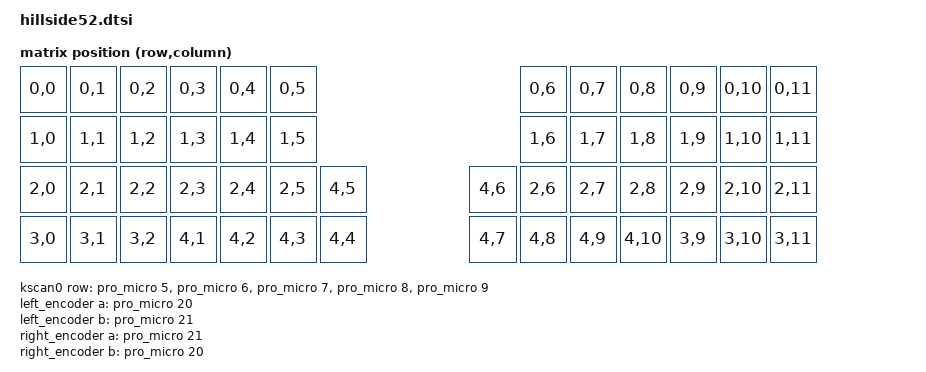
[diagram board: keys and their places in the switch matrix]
/*
 * Copyright (c) 2021-2022 The ZMK Contributors
 *
 * SPDX-License-Identifier: MIT
 */

#include <dt-bindings/zmk/matrix_transform.h>
#include <dt-bindings/led/led.h>

/ {
    chosen {
        zmk,kscan = &kscan0;
        zmk,matrix_transform = &default_transform;
        zmk,underglow = &led_strip;
    };

    default_transform: keymap_transform_0 {
        compatible = "zmk,matrix-transform";
        columns = <12>;
        rows = <5>;
// | SW1  | SW2  | SW3  | SW4  | SW5  | SW6  |                                   | SW6  | SW5  | SW4  | SW3  | SW2  | SW1  |
// | SW7  | SW8  | SW9  | SW10 | SW11 | SW12 |                                   | SW12 | SW11 | SW10 | SW9  | SW8  | SW7  |
// | SW13 | SW14 | SW15 | SW16 | SW17 | SW18 / SW19 /                     \ SW19 \ SW18 | SW17 | SW16 | SW15 | SW14 | SW13 |
// | SW20 | SW21 | SW22    | SW23 / SW24 / SW25 / SW26 /               \ SW26 \ SW25 \ SW24 \ SW23 |    SW22 | SW21 | SW20 |
        map = <
RC(0,0) RC(0,1) RC(0,2) RC(0,3) RC(0,4) RC(0,5)                                   RC(0,6) RC(0,7) RC(0,8) RC(0,9) RC(0,10) RC(0,11)
RC(1,0) RC(1,1) RC(1,2) RC(1,3) RC(1,4) RC(1,5)                                   RC(1,6) RC(1,7) RC(1,8) RC(1,9) RC(1,10) RC(1,11)
RC(2,0) RC(2,1) RC(2,2) RC(2,3) RC(2,4) RC(2,5) RC(4,5)                   RC(4,6) RC(2,6) RC(2,7) RC(2,8) RC(2,9) RC(2,10) RC(2,11)
RC(3,0) RC(3,1) RC(3,2)         RC(4,1) RC(4,2) RC(4,3) RC(4,4)   RC(4,7) RC(4,8) RC(4,9) RC(4,10)        RC(3,9) RC(3,10) RC(3,11)
        >;
    };

    kscan0: kscan {
        compatible = "zmk,kscan-gpio-matrix";
        label = "KSCAN";

        diode-direction = "col2row";
        row-gpios
            = <&pro_micro 5 (GPIO_ACTIVE_HIGH | GPIO_PULL_DOWN)>
            , <&pro_micro 6 (GPIO_ACTIVE_HIGH | GPIO_PULL_DOWN)>
            , <&pro_micro 7 (GPIO_ACTIVE_HIGH | GPIO_PULL_DOWN)>
            , <&pro_micro 8 (GPIO_ACTIVE_HIGH | GPIO_PULL_DOWN)>
            , <&pro_micro 9 (GPIO_ACTIVE_HIGH | GPIO_PULL_DOWN)>
            ;
        
    };

    left_encoder: encoder_left {
            compatible = "alps,ec11";
            label = "LEFT_ENCODER";
            a-gpios = <&pro_micro 20 (GPIO_ACTIVE_HIGH | GPIO_PULL_UP)>;
            b-gpios = <&pro_micro 21 (GPIO_ACTIVE_HIGH | GPIO_PULL_UP)>;
            resolution = <4>;
            status = "disabled";
        };

    right_encoder: encoder_right {
            compatible = "alps,ec11";
            label = "RIGHT_ENCODER";
            a-gpios = <&pro_micro 21 (GPIO_ACTIVE_HIGH | GPIO_PULL_UP)>;
            b-gpios = <&pro_micro 20 (GPIO_ACTIVE_HIGH | GPIO_PULL_UP)>;
            resolution = <4>;
            status = "disabled";
        };

    sensors {
            compatible = "zmk,keymap-sensors";
            sensors = <&left_encoder &right_encoder>;
        };
    
};

&pinctrl {
    spi3_default: spi3_default {
        group1 {
            psels = <NRF_PSEL(SPIM_MOSI, 0, 8)>;
        };
    };

    spi3_sleep: spi3_sleep {
        group1 {
            psels = <NRF_PSEL(SPIM_MOSI, 0, 8)>;
            low-power-enable;
        };
    };
};

&spi3 {
    compatible = "nordic,nrf-spim";
    status = "okay";

    pinctrl-0 = <&spi3_default>;
    pinctrl-1 = <&spi3_sleep>;
    pinctrl-names = "default", "sleep";

    led_strip: ws2812@0 {
        compatible = "worldsemi,ws2812-spi";
        label = "WS2812";

        /* SPI */
        reg = <0>; /* ignored, but necessary for SPI bindings */
        spi-max-frequency = <4000000>;

        /* WS2812 */
        chain-length = <5>; /* 5 LEDs per side */
        spi-one-frame = <0x70>;
        spi-zero-frame = <0x40>;

        color-mapping = <LED_COLOR_ID_GREEN LED_COLOR_ID_RED LED_COLOR_ID_BLUE>;
    };
};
